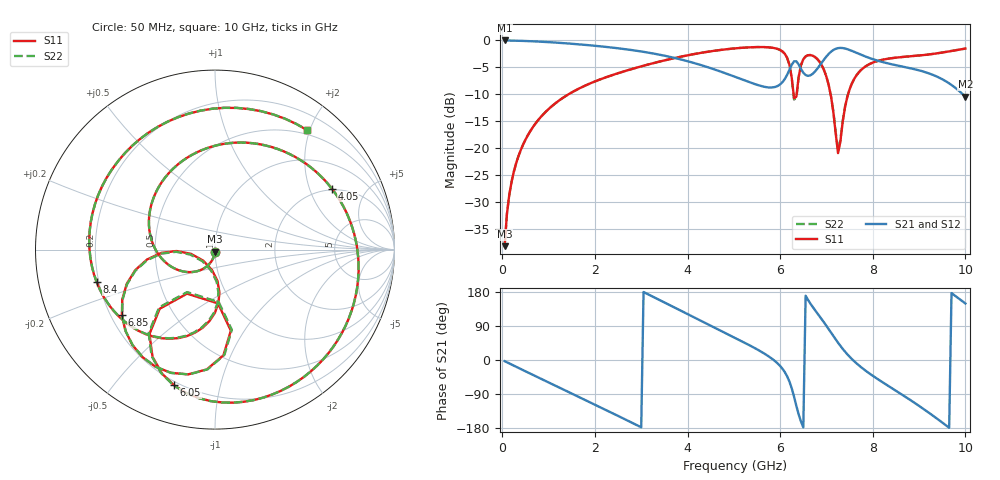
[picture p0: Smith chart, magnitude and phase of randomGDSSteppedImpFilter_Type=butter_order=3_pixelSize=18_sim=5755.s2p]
! freq	dB(S11)	phase(S11)	dB(S12)	phase(S12)
!  dB(S21)	phase(S21)	dB(S22)	phase(S22)
!S-par simulation data
#  GHz  S  DB  R 50
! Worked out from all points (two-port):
!   200 points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, 50 MHz to 10 GHz, reference 50 ohm
!   highest |S21| = -0.01 dB at 50 MHz (marker M1); lowest = -10.5 dB at 10 GHz (marker M2)
!   |S21| within 3 dB of the highest: start of sweep to 3.596 GHz; 6.997 GHz to 7.848 GHz (851 MHz wide, 11.5 % of centre)
!   lowest |S11| = -38.2 dB at 50 MHz (marker M3), VSWR 1.02, Z = 49.9 - j1.23 ohm
!   |S11| at or under -10 dB: start of sweep to 1.429 GHz; 6.29 GHz to 6.356 GHz (65.58 MHz wide, 1.04 % of centre); 7.089 GHz to 7.467 GHz (378.3 MHz wide, 5.2 % of centre)
!   |S22| runs from -38.2 to -1.2 dB; largest |S21 - S12| = 0
!   S11 on the Smith chart (normalised r, x): 50 MHz: 1.00, -0.02; 4.05 GHz: 1.94, +2.86; 6.05 GHz: 0.18, -0.73; 6.85 GHz: 0.24, -0.30; 8.4 GHz: 0.19, -0.13; 10 GHz: 0.43, +1.95
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0.05  -38.18 -92.4  -0.01 -3.0  -0.01 -3.0  -38.17 -92.4
0.2  -26.24 -101.9  -0.03 -12.0  -0.03 -12.0  -26.24 -101.9
0.5  -18.43 -120.2  -0.11 -29.8  -0.11 -29.8  -18.43 -120.2
1.75  -8.54 166.0  -0.79 -103.3  -0.79 -103.3  -8.54 165.9
2.6  -5.81 115.7  -1.56 -153.5  -1.56 -153.5  -5.81 115.6
3.4  -3.92 67.3  -2.66 158.1  -2.66 158.1  -3.92 67.2
4.05  -2.68 27.6  -3.97 118.2  -3.97 118.2  -2.68 27.4
5.05  -1.45 -33.2  -6.83 57.0  -6.83 57.0  -1.45 -33.4
6.05  -2.05 -106.8  -7.74 -23.2  -7.74 -23.2  -2.05 -107.2
6.3  -10.73 -122.4  -3.88 -96.8  -3.88 -96.8  -10.96 -123.3
6.4  -6.74 -78.9  -4.47 -143.7  -4.47 -143.7  -6.82 -78.2
6.7  -2.82 -124.0  -6.21 140.5  -6.21 140.5  -2.82 -123.7
6.85  -3.94 -144.8  -4.70 115.6  -4.70 115.6  -3.94 -144.4
7.05  -8.36 -171.7  -2.48 81.1  -2.48 81.1  -8.33 -171.1
7.25  -20.91 -137.6  -1.43 45.7  -1.43 45.7  -20.40 -137.5
7.45  -10.48 -86.4  -1.62 15.1  -1.62 15.1  -10.45 -87.5
7.85  -4.79 -121.0  -3.01 -28.7  -3.01 -28.7  -4.78 -121.6
8.35  -3.36 -160.7  -4.31 -69.5  -4.31 -69.5  -3.36 -161.1
8.4  -3.30 -164.6  -4.41 -73.4  -4.41 -73.4  -3.30 -165.0
9.1  -2.72 137.7  -5.80 -129.6  -5.80 -129.6  -2.72 137.5
9.6  -2.10 91.0  -7.69 -174.2  -7.69 -174.2  -2.10 90.9
10  -1.51 52.5  -10.46 149.2  -10.46 149.2  -1.51 52.7
